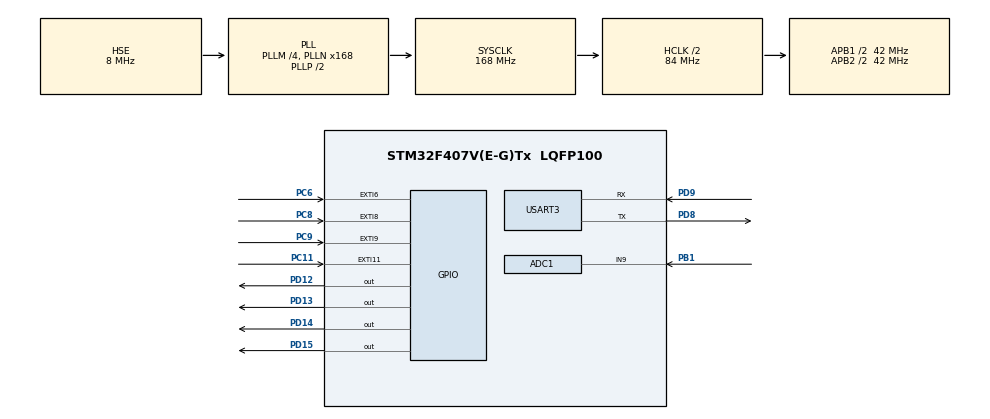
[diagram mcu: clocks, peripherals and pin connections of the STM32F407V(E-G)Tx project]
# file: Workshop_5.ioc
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ADC1.Channel-0\#ChannelRegularConversion=ADC_CHANNEL_9
ADC1.ClockPrescaler=ADC_CLOCK_SYNC_PCLK_DIV4
ADC1.DMAContinuousRequests=ENABLE
ADC1.ExternalTrigConv=ADC_EXTERNALTRIGCONV_T2_TRGO
ADC1.NbrOfConversionFlag=1
ADC1.Rank-0\#ChannelRegularConversion=1
ADC1.SamplingTime-0\#ChannelRegularConversion=ADC_SAMPLETIME_3CYCLES
ADC1.ScanConvMode=ENABLE
ADC1.master=1
Dma.ADC1.0.Direction=DMA_PERIPH_TO_MEMORY
Dma.ADC1.0.FIFOMode=DMA_FIFOMODE_DISABLE
Dma.ADC1.0.Instance=DMA2_Stream0
Dma.ADC1.0.MemDataAlignment=DMA_MDATAALIGN_HALFWORD
Dma.ADC1.0.MemInc=DMA_MINC_ENABLE
Dma.ADC1.0.Mode=DMA_CIRCULAR
Dma.ADC1.0.PeriphDataAlignment=DMA_PDATAALIGN_HALFWORD
Dma.ADC1.0.PeriphInc=DMA_PINC_DISABLE
Dma.ADC1.0.Priority=DMA_PRIORITY_LOW
Dma.Request0=ADC1
Mcu.Family=STM32F4
Mcu.Name=STM32F407V(E-G)Tx
Mcu.Package=LQFP100
NVIC.DMA2_Stream0_IRQn=true\:0\:0\:false\:false\:true\:false\:true
NVIC.EXTI15_10_IRQn=true\:0\:0\:false\:false\:true\:true\:true
NVIC.EXTI9_5_IRQn=true\:0\:0\:false\:false\:true\:true\:true
NVIC.PriorityGroup=NVIC_PRIORITYGROUP_4
NVIC.TIM3_IRQn=true\:0\:0\:false\:false\:true\:true\:true
PA13.Mode=Serial_Wire
PA13.Signal=SYS_JTMS-SWDIO
PA14.Mode=Serial_Wire
PA14.Signal=SYS_JTCK-SWCLK
PB1.Signal=ADCx_IN9
PC11.GPIO_ModeDefaultEXTI=GPIO_MODE_IT_FALLING
PC11.Signal=GPXTI11
PC6.GPIO_ModeDefaultEXTI=GPIO_MODE_IT_FALLING
PC6.Signal=GPXTI6
PC8.GPIO_ModeDefaultEXTI=GPIO_MODE_IT_FALLING
PC8.Signal=GPXTI8
PC9.GPIO_ModeDefaultEXTI=GPIO_MODE_IT_FALLING
PC9.Signal=GPXTI9
PD12.Signal=GPIO_Output
PD13.Signal=GPIO_Output
PD14.Signal=GPIO_Output
PD15.Signal=GPIO_Output
PD8.Mode=Asynchronous
PD8.Signal=USART3_TX
PD9.Mode=Asynchronous
PD9.Signal=USART3_RX
PH0-OSC_IN.Mode=HSE-External-Oscillator
PH0-OSC_IN.Signal=RCC_OSC_IN
PH1-OSC_OUT.Mode=HSE-External-Oscillator
PH1-OSC_OUT.Signal=RCC_OSC_OUT
ProjectManager.HeapSize=0x200
ProjectManager.StackSize=0x400
ProjectManager.TargetToolchain=STM32CubeIDE
RCC.48MHZClocksFreq_Value=84000000
RCC.AHBCLKDivider=RCC_SYSCLK_DIV2
RCC.AHBFreq_Value=84000000
RCC.APB1CLKDivider=RCC_HCLK_DIV2
RCC.APB1Freq_Value=42000000
RCC.APB1TimFreq_Value=84000000
RCC.APB2CLKDivider=RCC_HCLK_DIV2
RCC.APB2Freq_Value=42000000
RCC.APB2TimFreq_Value=84000000
RCC.CortexFreq_Value=84000000
RCC.HCLKFreq_Value=84000000
RCC.HSE_VALUE=8000000
RCC.HSI_VALUE=16000000
RCC.LSE_VALUE=32768
RCC.PLLM=4
RCC.PLLN=168
RCC.PLLSourceVirtual=RCC_PLLSOURCE_HSE
RCC.SYSCLKFreq_VALUE=168000000
RCC.SYSCLKSource=RCC_SYSCLKSOURCE_PLLCLK
RCC.VCOOutputFreq_Value=336000000
SH.ADCx_IN9.0=ADC1_IN9,IN9
TIM2.Period=99
TIM2.Prescaler=41999
TIM2.TIM_MasterOutputTrigger=TIM_TRGO_UPDATE
TIM3.AutoReloadPreload=TIM_AUTORELOAD_PRELOAD_ENABLE
TIM3.Period=4999
TIM3.Prescaler=41999
USART3.VirtualMode=VM_ASYNC
VP_TIM2_VS_ClockSourceINT.Mode=Internal
VP_TIM3_VS_ClockSourceINT.Mode=Internal
board=custom

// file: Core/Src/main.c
/* USER CODE BEGIN Header */
/**
  ******************************************************************************
  * @file           : main.c
  * @brief          : Main program body
  ******************************************************************************
  * @attention
  *
  * <h2><center>&copy; Copyright (c) 2021 STMicroelectronics.
  * All rights reserved.</center></h2>
  *
  * This software component is licensed by ST under BSD 3-Clause license,
  * the "License"; You may not use this file except in compliance with the
  * License. You may obtain a copy of the License at:
  *                        opensource.org/licenses/BSD-3-Clause
  *
  ******************************************************************************
  */
/* USER CODE END Header */
#include "main.h"

/* USER CODE BEGIN Includes */
#include "stm32f4xx_it.h"
/* USER CODE END Includes */

ADC_HandleTypeDef hadc1;
DMA_HandleTypeDef hdma_adc1;

TIM_HandleTypeDef htim2;
TIM_HandleTypeDef htim3;

UART_HandleTypeDef huart3;

/* USER CODE BEGIN PV */
uint16_t arr_adc[1];
static uint8_t arrTX[2];

/* USER CODE END PV */

void SystemClock_Config(void);
static void MX_GPIO_Init(void);
static void MX_DMA_Init(void);
static void MX_ADC1_Init(void);
static void MX_TIM2_Init(void);
static void MX_USART3_UART_Init(void);
static void MX_TIM3_Init(void);

/* USER CODE BEGIN 0 */
uint8_t getTemp(uint8_t i){
	return arrTX[i];
}

/* USER CODE END 0 */

int main(void)
{

  /* MCU Configuration--------------------------------------------------------*/

  /* Reset of all peripherals, Initializes the Flash interface and the Systick. */
  HAL_Init();

  /* Configure the system clock */
  SystemClock_Config();

  /* Initialize all configured peripherals */
  MX_GPIO_Init();
  MX_DMA_Init();
  MX_ADC1_Init();
  MX_TIM2_Init();
  MX_USART3_UART_Init();
  MX_TIM3_Init();
  /* USER CODE BEGIN 2 */
  HAL_TIM_Base_Start_IT (&htim2);
  HAL_TIM_Base_Start_IT (&htim3);
  HAL_ADC_Start_DMA (&hadc1, (uint32_t*) arr_adc, 1);
  uint16_t T;

  /* USER CODE END 2 */

  /* Infinite loop */
  /* USER CODE BEGIN WHILE */
  while (1)
  {
	T = 100 - 50*(((3.3*arr_adc[0])/4096)-0.02);
	arrTX[0] = 48 + T/10;
	arrTX[1] = 48 + T%10;
	uint8_t buffRX[1];
	HAL_StatusTypeDef varRX;

	varRX =	HAL_UART_Receive (&huart3, (uint8_t *) buffRX, 1, 10);

	if (varRX == HAL_OK){
		switch (buffRX[0]){
		case 49:
			if (HAL_GPIO_ReadPin(GPIOD, GPIO_PIN_12) == GPIO_PIN_RESET) {
				HAL_GPIO_WritePin(GPIOD, GPIO_PIN_12, GPIO_PIN_SET);
				HAL_UART_Transmit (&huart3, (uint8_t *) "Green LED is on\r\n", 14+2, 10);
			}
			else {
				HAL_GPIO_WritePin(GPIOD, GPIO_PIN_12, GPIO_PIN_RESET);
				HAL_UART_Transmit (&huart3, (uint8_t *) "Green LED is off\r\n", 15+2, 10);
			}
			break;
		case 50:
			if (HAL_GPIO_ReadPin(GPIOD, GPIO_PIN_13) == GPIO_PIN_RESET) {
				HAL_GPIO_WritePin(GPIOD, GPIO_PIN_13, GPIO_PIN_SET);
				HAL_UART_Transmit (&huart3, (uint8_t *) "Orange LED is on\r\n", 15+2, 10);
			}
			else {
				HAL_GPIO_WritePin(GPIOD, GPIO_PIN_13, GPIO_PIN_RESET);
				HAL_UART_Transmit (&huart3, (uint8_t *) "Orange LED is off\r\n", 16+2, 10);
			}
			break;
		case 51:
			if (HAL_GPIO_ReadPin(GPIOD, GPIO_PIN_14) == GPIO_PIN_RESET) {
				HAL_GPIO_WritePin(GPIOD, GPIO_PIN_14, GPIO_PIN_SET);
				HAL_UART_Transmit (&huart3, (uint8_t *) "Red LED is on\r\n", 12+2, 10);
			}
			else {
				HAL_GPIO_WritePin(GPIOD, GPIO_PIN_14, GPIO_PIN_RESET);
				HAL_UART_Transmit (&huart3, (uint8_t *) "Red LED is off\r\n", 13+2, 10);
			}
			break;
		case 52:
			if (HAL_GPIO_ReadPin(GPIOD, GPIO_PIN_15) == GPIO_PIN_RESET) {
				HAL_GPIO_WritePin(GPIOD, GPIO_PIN_15, GPIO_PIN_SET);
				HAL_UART_Transmit (&huart3, (uint8_t *) "Blue LED is on\r\n", 13+2, 10);
			}
			else {
				HAL_GPIO_WritePin(GPIOD, GPIO_PIN_15, GPIO_PIN_RESET);
				HAL_UART_Transmit (&huart3, (uint8_t *) "Blue LED is off\r\n", 14+2, 10);
			}
			break;
		}

	}

	//HAL_UART_Transmit (&huart3, (uint8_t *) arrTX, 2, 10);
	//HAL_UART_Transmit (&huart3, (uint8_t *) "arrRX ", 6, 10);

    /* USER CODE END WHILE */

  }
}

void SystemClock_Config(void)
{
  RCC_OscInitTypeDef RCC_OscInitStruct = {0};
  RCC_ClkInitTypeDef RCC_ClkInitStruct = {0};

  /** Configure the main internal regulator output voltage
  */
  __HAL_RCC_PWR_CLK_ENABLE();
  __HAL_PWR_VOLTAGESCALING_CONFIG(PWR_REGULATOR_VOLTAGE_SCALE1);
  /** Initializes the RCC Oscillators according to the specified parameters
  * in the RCC_OscInitTypeDef structure.
  */
  RCC_OscInitStruct.OscillatorType = RCC_OSCILLATORTYPE_HSE;
  RCC_OscInitStruct.HSEState = RCC_HSE_ON;
  RCC_OscInitStruct.PLL.PLLState = RCC_PLL_ON;
  RCC_OscInitStruct.PLL.PLLSource = RCC_PLLSOURCE_HSE;
  RCC_OscInitStruct.PLL.PLLM = 4;
  RCC_OscInitStruct.PLL.PLLN = 168;
  RCC_OscInitStruct.PLL.PLLP = RCC_PLLP_DIV2;
  RCC_OscInitStruct.PLL.PLLQ = 4;
  if (HAL_RCC_OscConfig(&RCC_OscInitStruct) != HAL_OK)
  {
    Error_Handler();
  }
  /** Initializes the CPU, AHB and APB buses clocks
  */
  RCC_ClkInitStruct.ClockType = RCC_CLOCKTYPE_HCLK|RCC_CLOCKTYPE_SYSCLK
                              |RCC_CLOCKTYPE_PCLK1|RCC_CLOCKTYPE_PCLK2;
  RCC_ClkInitStruct.SYSCLKSource = RCC_SYSCLKSOURCE_PLLCLK;
  RCC_ClkInitStruct.AHBCLKDivider = RCC_SYSCLK_DIV2;
  RCC_ClkInitStruct.APB1CLKDivider = RCC_HCLK_DIV2;
  RCC_ClkInitStruct.APB2CLKDivider = RCC_HCLK_DIV2;

  if (HAL_RCC_ClockConfig(&RCC_ClkInitStruct, FLASH_LATENCY_2) != HAL_OK)
  {
    Error_Handler();
  }
}

static void MX_ADC1_Init(void)
{

  ADC_ChannelConfTypeDef sConfig = {0};

  /** Configure the global features of the ADC (Clock, Resolution, Data Alignment and number of conversion)
  */
  hadc1.Instance = ADC1;
  hadc1.Init.ClockPrescaler = ADC_CLOCK_SYNC_PCLK_DIV4;
  hadc1.Init.Resolution = ADC_RESOLUTION_12B;
  hadc1.Init.ScanConvMode = ENABLE;
  hadc1.Init.ContinuousConvMode = DISABLE;
  hadc1.Init.DiscontinuousConvMode = DISABLE;
  hadc1.Init.ExternalTrigConvEdge = ADC_EXTERNALTRIGCONVEDGE_RISING;
  hadc1.Init.ExternalTrigConv = ADC_EXTERNALTRIGCONV_T2_TRGO;
  hadc1.Init.DataAlign = ADC_DATAALIGN_RIGHT;
  hadc1.Init.NbrOfConversion = 1;
  hadc1.Init.DMAContinuousRequests = ENABLE;
  hadc1.Init.EOCSelection = ADC_EOC_SINGLE_CONV;
  if (HAL_ADC_Init(&hadc1) != HAL_OK)
  {
    Error_Handler();
  }
  /** Configure for the selected ADC regular channel its corresponding rank in the sequencer and its sample time.
  */
  sConfig.Channel = ADC_CHANNEL_9;
  sConfig.Rank = 1;
  sConfig.SamplingTime = ADC_SAMPLETIME_3CYCLES;
  if (HAL_ADC_ConfigChannel(&hadc1, &sConfig) != HAL_OK)
  {
    Error_Handler();
  }

}

static void MX_TIM2_Init(void)
{

  TIM_ClockConfigTypeDef sClockSourceConfig = {0};
  TIM_MasterConfigTypeDef sMasterConfig = {0};

  htim2.Instance = TIM2;
  htim2.Init.Prescaler = 41999;
  htim2.Init.CounterMode = TIM_COUNTERMODE_UP;
  htim2.Init.Period = 99;
  htim2.Init.ClockDivision = TIM_CLOCKDIVISION_DIV1;
  htim2.Init.AutoReloadPreload = TIM_AUTORELOAD_PRELOAD_DISABLE;
  if (HAL_TIM_Base_Init(&htim2) != HAL_OK)
  {
    Error_Handler();
  }
  sClockSourceConfig.ClockSource = TIM_CLOCKSOURCE_INTERNAL;
  if (HAL_TIM_ConfigClockSource(&htim2, &sClockSourceConfig) != HAL_OK)
  {
    Error_Handler();
  }
  sMasterConfig.MasterOutputTrigger = TIM_TRGO_UPDATE;
  sMasterConfig.MasterSlaveMode = TIM_MASTERSLAVEMODE_DISABLE;
  if (HAL_TIMEx_MasterConfigSynchronization(&htim2, &sMasterConfig) != HAL_OK)
  {
    Error_Handler();
  }

}

static void MX_TIM3_Init(void)
{

  TIM_ClockConfigTypeDef sClockSourceConfig = {0};
  TIM_MasterConfigTypeDef sMasterConfig = {0};

  htim3.Instance = TIM3;
  htim3.Init.Prescaler = 41999;
  htim3.Init.CounterMode = TIM_COUNTERMODE_UP;
  htim3.Init.Period = 4999;
  htim3.Init.ClockDivision = TIM_CLOCKDIVISION_DIV1;
  htim3.Init.AutoReloadPreload = TIM_AUTORELOAD_PRELOAD_ENABLE;
  if (HAL_TIM_Base_Init(&htim3) != HAL_OK)
  {
    Error_Handler();
  }
  sClockSourceConfig.ClockSource = TIM_CLOCKSOURCE_INTERNAL;
  if (HAL_TIM_ConfigClockSource(&htim3, &sClockSourceConfig) != HAL_OK)
  {
    Error_Handler();
  }
  sMasterConfig.MasterOutputTrigger = TIM_TRGO_RESET;
  sMasterConfig.MasterSlaveMode = TIM_MASTERSLAVEMODE_DISABLE;
  if (HAL_TIMEx_MasterConfigSynchronization(&htim3, &sMasterConfig) != HAL_OK)
  {
    Error_Handler();
  }

}

static void MX_USART3_UART_Init(void)
{

  huart3.Instance = USART3;
  huart3.Init.BaudRate = 115200;
  huart3.Init.WordLength = UART_WORDLENGTH_8B;
  huart3.Init.StopBits = UART_STOPBITS_1;
  huart3.Init.Parity = UART_PARITY_NONE;
  huart3.Init.Mode = UART_MODE_TX_RX;
  huart3.Init.HwFlowCtl = UART_HWCONTROL_NONE;
  huart3.Init.OverSampling = UART_OVERSAMPLING_16;
  if (HAL_UART_Init(&huart3) != HAL_OK)
  {
    Error_Handler();
  }

}

static void MX_DMA_Init(void)
{

  /* DMA controller clock enable */
  __HAL_RCC_DMA2_CLK_ENABLE();

  /* DMA interrupt init */
  /* DMA2_Stream0_IRQn interrupt configuration */
  HAL_NVIC_SetPriority(DMA2_Stream0_IRQn, 0, 0);
  HAL_NVIC_EnableIRQ(DMA2_Stream0_IRQn);

}

static void MX_GPIO_Init(void)
{
  GPIO_InitTypeDef GPIO_InitStruct = {0};

  /* GPIO Ports Clock Enable */
  __HAL_RCC_GPIOH_CLK_ENABLE();
  __HAL_RCC_GPIOB_CLK_ENABLE();
  __HAL_RCC_GPIOD_CLK_ENABLE();
  __HAL_RCC_GPIOC_CLK_ENABLE();
  __HAL_RCC_GPIOA_CLK_ENABLE();

  /*Configure GPIO pin Output Level */
  HAL_GPIO_WritePin(GPIOD, GPIO_PIN_12|GPIO_PIN_13|GPIO_PIN_14|GPIO_PIN_15, GPIO_PIN_RESET);

  /*Configure GPIO pins : PD12 PD13 PD14 PD15 */
  GPIO_InitStruct.Pin = GPIO_PIN_12|GPIO_PIN_13|GPIO_PIN_14|GPIO_PIN_15;
  GPIO_InitStruct.Mode = GPIO_MODE_OUTPUT_PP;
  GPIO_InitStruct.Pull = GPIO_NOPULL;
  GPIO_InitStruct.Speed = GPIO_SPEED_FREQ_LOW;
  HAL_GPIO_Init(GPIOD, &GPIO_InitStruct);

  /*Configure GPIO pins : PC6 PC8 PC9 PC11 */
  GPIO_InitStruct.Pin = GPIO_PIN_6|GPIO_PIN_8|GPIO_PIN_9|GPIO_PIN_11;
  GPIO_InitStruct.Mode = GPIO_MODE_IT_FALLING;
  GPIO_InitStruct.Pull = GPIO_NOPULL;
  HAL_GPIO_Init(GPIOC, &GPIO_InitStruct);

  /* EXTI interrupt init*/
  HAL_NVIC_SetPriority(EXTI9_5_IRQn, 0, 0);
  HAL_NVIC_EnableIRQ(EXTI9_5_IRQn);

  HAL_NVIC_SetPriority(EXTI15_10_IRQn, 0, 0);
  HAL_NVIC_EnableIRQ(EXTI15_10_IRQn);

}

void Error_Handler(void)
{
}

/************************ (C) COPYRIGHT STMicroelectronics *****END OF FILE****/
